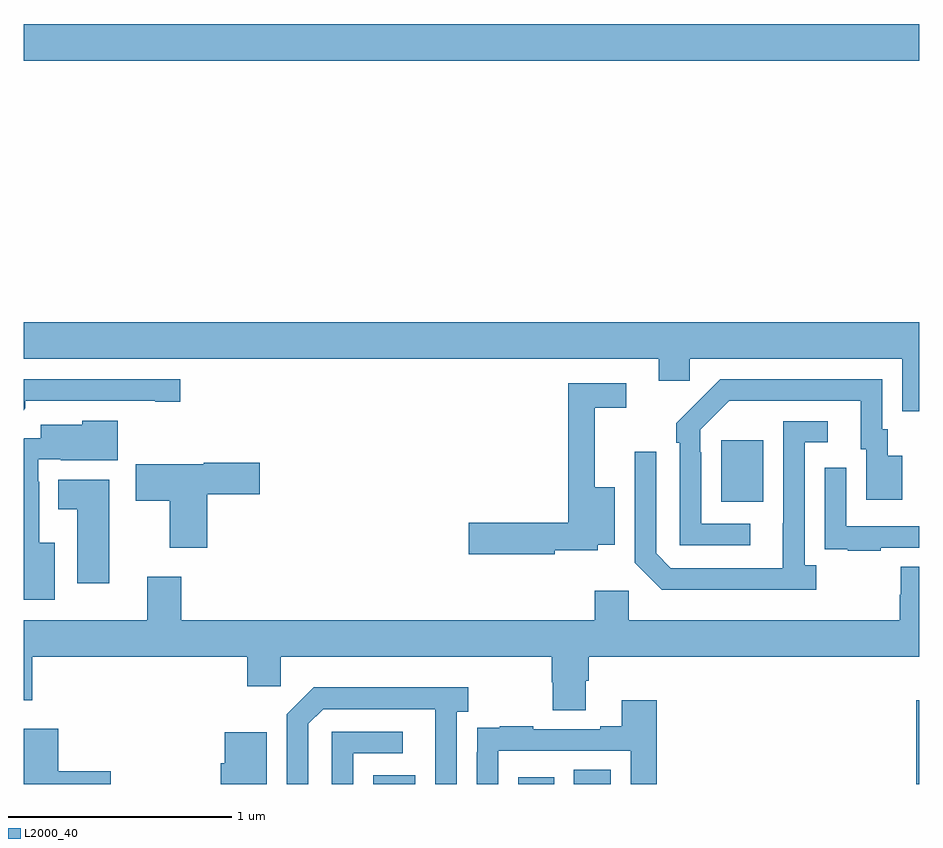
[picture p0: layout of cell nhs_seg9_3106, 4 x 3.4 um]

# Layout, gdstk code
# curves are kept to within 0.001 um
import gdstk
lib = gdstk.Library(unit=1e-6, precision=1e-09)
def R(c, l, rs):  # rectangles x0, y0, x1, y1
    for r in rs: c.add(gdstk.rectangle(r[:2], r[2:], *l))
def P(c, l, *ps):  # polygons
    for p in ps: c.add(gdstk.Polygon(p, *l))
L2000_40 = (2000, 40)

nhs_seg9_3106 = lib.new_cell('nhs_seg9_3106')
R(nhs_seg9_3106, L2000_40, [(290.561,1214.5,290.749,1214.539), (291.209,1214.5,291.37,1214.53), (291.458,1214.5,291.622,1214.564), (292.987,1214.5,293,1214.875), (292.115,1215.761,292.303,1216.036), (289,1217.732,293,1217.896)])
P(nhs_seg9_3106, L2000_40, [(293,1216.564),(289,1216.564),(289,1216.4),(291.836,1216.4),(291.836,1216.302),(291.975,1216.302),(291.975,1216.4),(292.925,1216.4),(292.925,1216.165),(293,1216.165)],
  [(292.246,1215.663),(292.026,1215.663),(292.026,1215.983),(292.023,1215.983),(292.023,1216.083),(292.152,1216.212),(292.739,1216.212),(292.739,1215.996),(292.763,1215.996),(292.763,1215.771),(292.924,1215.771),(292.924,1215.967),(292.861,1215.967),(292.861,1216.086),(292.836,1216.086),(292.836,1216.308),(292.112,1216.308),(291.915,1216.113),(291.915,1216.025),(291.93,1216.025),(291.93,1215.567),(292.246,1215.567)],
  [(289.007,1216.178),(289.007,1216.212),(289.586,1216.212),(289.586,1216.207),(289.699,1216.207),(289.699,1216.308),(289,1216.308),(289,1216.171)],
  [(291.372,1215.545),(291.564,1215.545),(291.564,1215.569),(291.64,1215.569),(291.64,1215.826),(291.551,1215.826),(291.551,1216.182),(291.691,1216.182),(291.691,1216.29),(291.433,1216.29),(291.433,1215.668),(290.988,1215.668),(290.988,1215.526),(291.372,1215.526)],
  [(289.138,1215.577),(289.069,1215.577),(289.069,1215.851),(289.065,1215.851),(289.065,1215.951),(289.165,1215.951),(289.165,1215.947),(289.42,1215.947),(289.42,1216.123),(289.26,1216.123),(289.26,1216.105),(289.076,1216.105),(289.076,1216.044),(289.002,1216.044),(289,1216.042),(289,1215.323),(289.138,1215.323)],
  [(292.54,1215.478),(292.488,1215.478),(292.488,1216.026),(292.591,1216.026),(292.591,1216.122),(292.392,1216.122),(292.391,1215.465),(291.891,1215.465),(291.825,1215.531),(291.825,1215.985),(291.729,1215.985),(291.729,1215.489),(291.85,1215.368),(292.54,1215.368)],
  [(289.82,1215.794),(290.053,1215.794),(290.053,1215.936),(289.803,1215.936),(289.803,1215.928),(289.5,1215.928),(289.5,1215.766),(289.652,1215.766),(289.652,1215.555),(289.82,1215.555)],
  [(292.829,1215.555),(293,1215.555),(293,1215.651),(292.674,1215.651),(292.674,1215.913),(292.578,1215.913),(292.578,1215.658),(292.579,1215.658),(292.579,1215.549),(292.681,1215.549),(292.681,1215.543),(292.829,1215.543)],
  [(289.381,1215.859),(289.154,1215.859),(289.154,1215.728),(289.238,1215.728),(289.238,1215.396),(289.381,1215.396)],
  [(289.703,1215.427),(289.55,1215.427),(289.55,1215.232),(289,1215.232),(289,1214.874),(289.037,1214.874),(289.037,1215.068),(289.997,1215.068),(289.997,1214.937),(290.148,1214.937),(290.148,1215.068),(291.359,1215.068),(291.359,1214.955),(291.364,1214.955),(291.364,1214.83),(291.511,1214.83),(291.511,1214.962),(291.524,1214.962),(291.524,1215.068),(293,1215.068),(293,1215.47),(292.918,1215.47),(292.918,1215.345),(292.913,1215.345),(292.913,1215.232),(291.702,1215.232),(291.702,1215.364),(291.551,1215.364),(291.551,1215.232),(289.703,1215.232)],
  [(290.271,1214.769),(290.337,1214.835),(290.837,1214.835),(290.838,1214.5),(290.934,1214.5),(290.934,1214.822),(290.986,1214.822),(290.986,1214.932),(290.296,1214.932),(290.175,1214.811),(290.175,1214.5),(290.271,1214.5)],
  [(291.12,1214.649),(291.711,1214.649),(291.711,1214.5),(291.827,1214.5),(291.827,1214.875),(291.671,1214.875),(291.671,1214.758),(291.575,1214.758),(291.575,1214.745),(291.275,1214.745),(291.275,1214.758),(291.127,1214.758),(291.127,1214.751),(291.025,1214.751),(291.025,1214.642),(291.024,1214.642),(291.024,1214.5),(291.12,1214.5)],
  [(289.387,1214.558),(289.154,1214.558),(289.154,1214.746),(289,1214.746),(289,1214.5),(289.387,1214.5)],
  [(290.472,1214.637),(290.692,1214.637),(290.692,1214.733),(290.376,1214.733),(290.376,1214.5),(290.472,1214.5)],
  [(290.086,1214.731),(289.898,1214.731),(289.898,1214.592),(289.879,1214.592),(289.879,1214.5),(290.086,1214.5)])

lib.write_gds('nhs_seg9_3106.gds')
